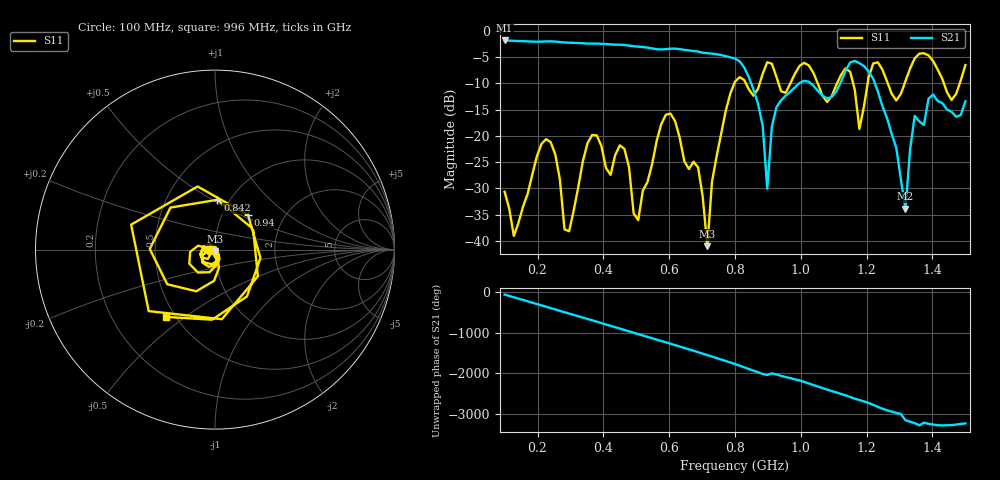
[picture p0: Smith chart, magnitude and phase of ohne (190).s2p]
! NanoVNA-App
! Date: 2025-09-25 14:22:16
! Start: 100MHz Stop: 1,5GHz Points: 101
! S-Parameter data: F S11 S21 S12 S22
# Hz S RI R 50
!  Frequency  S11_Real  S11_Imag  S21_Real  S21_Imag  S12_Real  S12_Imag  S22_Real  S22_Imag
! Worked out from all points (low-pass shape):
!   101 points, 100 MHz to 1.5 GHz, reference 50 ohm
!   highest |S21| = -1.79 dB at 100 MHz (marker M1); lowest = -33.9 dB at 1.318 GHz (marker M2)
!   |S21| within 3 dB of the highest: start of sweep to 772.1 MHz
!   lowest |S11| = -41.0 dB at 716 MHz (marker M3), VSWR 1.02, Z = 49.9 - j0.877 ohm
!   |S11| at or under -10 dB: start of sweep to 797.9 MHz; 833.2 MHz to 875 MHz (41.8 MHz wide, 4.89 % of centre); 1.052 GHz to 1.11 GHz (58.28 MHz wide, 5.39 % of centre) (the widest 3 of 7)
!   S12 and S22 are empty: the file has one direction only
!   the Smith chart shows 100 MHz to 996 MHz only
!   S11 on the Smith chart (normalised r, x): 100 MHz: 0.94, -0.01; 842 MHz: 0.88, +0.53; 940 MHz: 1.32, +0.55; 996 MHz: 0.44, -0.42
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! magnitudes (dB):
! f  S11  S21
! 100 MHz  -30.6  -1.8
! 128 MHz  -39.1  -1.9
! 226 MHz  -20.6  -2.0
! 296 MHz  -38.2  -2.2
! 338 MHz  -24.8  -2.3
! 464 MHz  -22.5  -2.7
! 506 MHz  -36.1  -3.0
! 576 MHz  -17.7  -3.5
! 688 MHz  -26.0  -3.9
! 716 MHz  -41.0  -4.2
! 800 MHz  -9.7  -5.3
! 842 MHz  -11.1  -8.8
! 898 MHz  -6.0  -30.1
! 940 MHz  -11.5  -13.2
! 996 MHz  -6.6  -9.9
! 1.038 GHz  -7.9  -10.4
! 1.178 GHz  -18.7  -6.1
! 1.22 GHz  -6.2  -9.2
! 1.276 GHz  -11.9  -19.6
! 1.318 GHz  -9.5  -33.9
! 1.346 GHz  -5.2  -16.2
! 1.5 GHz  -6.5  -13.4
